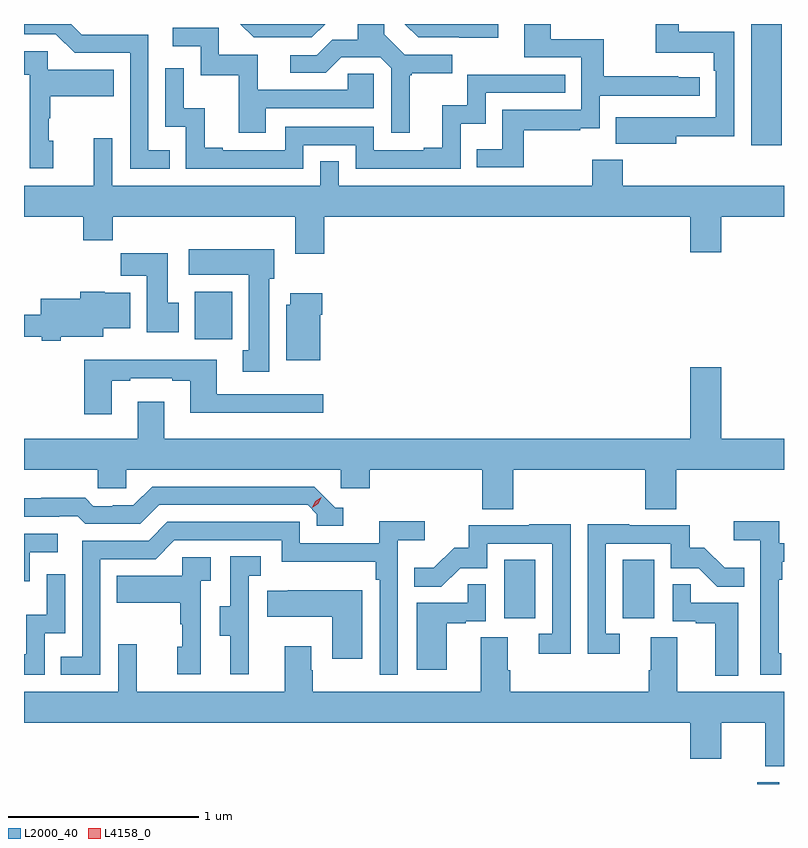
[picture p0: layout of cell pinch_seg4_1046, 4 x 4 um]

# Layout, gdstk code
import gdstk
lib = gdstk.Library(unit=1e-6, precision=1e-09)
def R(c, l, rs):  # rectangles x0, y0, x1, y1
    for r in rs: c.add(gdstk.rectangle(r[:2], r[2:], *l))
def P(c, l, *ps):  # polygons
    for p in ps: c.add(gdstk.Polygon(p, *l))
L2000_40 = (2000, 40)
L4158_0 = (4158, 0)

pinch_seg4_1046 = lib.new_cell('pinch_seg4_1046')
R(pinch_seg4_1046, L2000_40, [(836.688,763.198,836.806,763.207), (835.358,764.07,835.522,764.377), (835.982,764.07,836.146,764.377), (833.729,765.54,833.925,765.79), (836.657,766.56,836.818,767.198)])
P(pinch_seg4_1046, L2000_40, [(836.263,766.606),(836.568,766.606),(836.568,767.158),(836.275,767.158),(836.275,767.198),(836.154,767.198),(836.154,767.048),(836.459,767.048),(836.459,766.952),(836.472,766.952),(836.472,766.707),(836.159,766.707),(836.159,766.708),(835.945,766.708),(835.945,766.568),(836.263,766.568)],
  [(835.327,767.198),(834.835,767.198),(834.906,767.127),(835.122,767.127),(835.122,767.126),(835.327,767.126)],
  [(834.416,767.198),(833.968,767.198),(834.039,767.127),(834.345,767.127)],
  [(833.597,766.533),(833.484,766.533),(833.484,767.142),(833.134,767.142),(833.078,767.198),(832.83,767.198),(832.83,767.145),(832.998,767.145),(833.097,767.046),(833.388,767.046),(833.388,766.437),(833.597,766.437)],
  [(834.859,766.929),(834.871,766.929),(834.871,766.94),(835.084,766.94),(835.084,767.037),(834.834,767.037),(834.727,767.144),(834.727,767.198),(834.587,767.198),(834.587,767.114),(834.452,767.114),(834.372,767.034),(834.231,767.034),(834.231,766.941),(834.418,766.941),(834.499,767.022),(834.705,767.022),(834.762,766.965),(834.762,766.626),(834.859,766.626)],
  [(835.459,766.638),(835.757,766.638),(835.757,766.649),(835.86,766.649),(835.86,766.821),(836.386,766.821),(836.386,766.917),(836.273,766.917),(836.273,766.922),(835.88,766.922),(835.88,767.118),(835.603,767.118),(835.603,767.198),(835.463,767.198),(835.463,767.022),(835.764,767.022),(835.764,766.746),(835.348,766.746),(835.348,766.54),(835.213,766.54),(835.213,766.443),(835.459,766.443)],
  [(834.103,766.755),(834.672,766.755),(834.672,766.935),(834.535,766.935),(834.535,766.851),(834.061,766.851),(834.061,767.037),(833.856,767.037),(833.856,767.178),(833.613,767.178),(833.613,767.082),(833.76,767.082),(833.76,766.929),(833.959,766.929),(833.959,766.626),(834.103,766.626)],
  [(832.984,766.584),(832.959,766.584),(832.959,766.703),(832.969,766.703),(832.969,766.817),(833.303,766.817),(833.303,766.957),(832.956,766.957),(832.956,767.055),(832.83,767.055),(832.83,766.931),(832.86,766.931),(832.86,766.44),(832.984,766.44)],
  [(834.3,766.56),(834.576,766.56),(834.576,766.437),(835.128,766.437),(835.128,766.673),(835.26,766.673),(835.26,766.836),(835.679,766.836),(835.679,766.932),(835.164,766.932),(835.164,766.771),(835.031,766.771),(835.031,766.546),(834.935,766.546),(834.935,766.533),(834.672,766.533),(834.672,766.656),(834.204,766.656),(834.204,766.533),(833.875,766.533),(833.875,766.546),(833.78,766.546),(833.78,766.754),(833.67,766.754),(833.67,766.966),(833.574,766.966),(833.574,766.656),(833.682,766.656),(833.682,766.437),(834.3,766.437)],
  [(834.41,766.184),(836.336,766.184),(836.336,765.996),(836.5,765.996),(836.5,766.184),(836.83,766.184),(836.83,766.348),(835.982,766.348),(835.982,766.483),(835.822,766.483),(835.822,766.348),(834.486,766.348),(834.486,766.475),(834.39,766.475),(834.39,766.348),(833.295,766.348),(833.295,766.597),(833.198,766.597),(833.198,766.348),(832.83,766.348),(832.83,766.184),(833.141,766.184),(833.141,766.06),(833.297,766.06),(833.297,766.184),(834.257,766.184),(834.257,765.99),(834.41,765.99)],
  [(834.121,765.858),(834.148,765.858),(834.148,766.012),(833.697,766.012),(833.697,765.878),(834.014,765.878),(834.014,765.481),(833.981,765.481),(833.981,765.369),(834.121,765.369)],
  [(833.644,765.732),(833.587,765.732),(833.587,765.991),(833.338,765.991),(833.338,765.872),(833.477,765.872),(833.477,765.576),(833.644,765.576)],
  [(833.023,765.551),(833.248,765.551),(833.248,765.596),(833.389,765.596),(833.389,765.784),(833.256,765.784),(833.256,765.79),(833.126,765.79),(833.126,765.751),(832.919,765.751),(832.919,765.668),(832.83,765.668),(832.83,765.552),(832.923,765.552),(832.923,765.532),(833.023,765.532)],
  [(834.388,765.668),(834.401,765.668),(834.401,765.781),(834.23,765.781),(834.23,765.72),(834.209,765.72),(834.209,765.428),(834.388,765.428)],
  [(833.293,765.321),(833.389,765.321),(833.389,765.333),(833.609,765.333),(833.609,765.321),(833.705,765.321),(833.705,765.152),(834.406,765.152),(834.406,765.249),(833.845,765.249),(833.845,765.43),(833.146,765.43),(833.146,765.144),(833.293,765.144)],
  [(833.569,765.211),(833.429,765.211),(833.429,765.016),(832.83,765.016),(832.83,764.852),(833.217,764.852),(833.217,764.754),(833.367,764.754),(833.367,764.852),(834.498,764.852),(834.498,764.754),(834.65,764.754),(834.65,764.852),(835.241,764.852),(835.241,764.644),(835.406,764.644),(835.406,764.852),(836.099,764.852),(836.099,764.644),(836.264,764.644),(836.264,764.852),(836.83,764.852),(836.83,765.016),(836.5,765.016),(836.5,765.391),(836.336,765.391),(836.336,765.016),(833.569,765.016)],
  [(834.511,764.652),(834.468,764.652),(834.357,764.763),(833.504,764.763),(833.405,764.664),(833.298,764.664),(833.298,764.661),(833.195,764.661),(833.153,764.704),(832.92,764.704),(832.92,764.701),(832.83,764.701),(832.83,764.604),(833.015,764.604),(833.015,764.607),(833.114,764.607),(833.153,764.568),(833.442,764.568),(833.541,764.667),(834.324,764.667),(834.372,764.619),(834.372,764.556),(834.511,764.556)],
  [(833.232,764.382),(833.523,764.382),(833.622,764.481),(834.186,764.481),(834.186,764.369),(834.682,764.369),(834.682,764.273),(834.702,764.273),(834.702,763.773),(834.798,763.773),(834.798,764.48),(834.94,764.48),(834.94,764.582),(834.701,764.582),(834.701,764.466),(834.282,764.466),(834.282,764.577),(833.585,764.577),(833.486,764.478),(833.136,764.478),(833.136,763.869),(833.023,763.869),(833.023,763.773),(833.232,763.773)],
  [(836.815,763.885),(836.802,763.885),(836.802,764.273),(836.822,764.273),(836.822,764.369),(836.83,764.369),(836.83,764.466),(836.804,764.466),(836.804,764.582),(836.565,764.582),(836.565,764.48),(836.706,764.48),(836.706,763.773),(836.815,763.773)],
  [(835.966,763.989),(835.893,763.989),(835.893,764.463),(836.235,764.463),(836.235,764.334),(836.38,764.334),(836.478,764.236),(836.621,764.236),(836.621,764.335),(836.517,764.335),(836.41,764.442),(836.334,764.442),(836.334,764.559),(836.015,764.559),(836.015,764.564),(835.797,764.564),(835.797,763.884),(835.966,763.884)],
  [(835.707,764.564),(835.489,764.564),(835.489,764.559),(835.171,764.559),(835.171,764.442),(835.094,764.442),(834.987,764.335),(834.883,764.335),(834.883,764.236),(835.027,764.236),(835.125,764.334),(835.269,764.334),(835.269,764.463),(835.611,764.463),(835.611,763.989),(835.539,763.989),(835.539,763.884),(835.707,763.884)],
  [(832.86,764.418),(833.008,764.418),(833.008,764.514),(832.83,764.514),(832.83,764.265),(832.86,764.265)],
  [(834.014,763.989),(834.012,763.989),(834.012,764.293),(834.076,764.293),(834.076,764.396),(833.916,764.396),(833.916,764.133),(833.861,764.133),(833.861,763.978),(833.915,763.978),(833.915,763.776),(834.014,763.776)],
  [(833.76,764.267),(833.812,764.267),(833.812,764.391),(833.664,764.391),(833.664,764.293),(833.317,764.293),(833.317,764.153),(833.652,764.153),(833.652,764.039),(833.662,764.039),(833.662,763.92),(833.636,763.92),(833.636,763.776),(833.76,763.776)],
  [(832.938,763.992),(833.046,763.992),(833.046,764.302),(832.95,764.302),(832.95,764.09),(832.841,764.09),(832.841,763.882),(832.83,763.882),(832.83,763.773),(832.938,763.773)],
  [(835.054,764.043),(835.154,764.043),(835.154,764.055),(835.26,764.055),(835.26,764.249),(835.165,764.249),(835.165,764.151),(834.896,764.151),(834.896,763.8),(835.054,763.8)],
  [(836.59,764.151),(836.339,764.151),(836.339,764.249),(836.244,764.249),(836.244,764.055),(836.365,764.055),(836.365,764.043),(836.468,764.043),(836.468,763.769),(836.59,763.769)],
  [(834.61,764.218),(834.217,764.218),(834.217,764.215),(834.109,764.215),(834.109,764.078),(834.452,764.078),(834.452,763.857),(834.61,763.857)],
  [(836.336,763.332),(836.5,763.332),(836.5,763.52),(836.731,763.52),(836.731,763.292),(836.83,763.292),(836.83,763.684),(836.269,763.684),(836.269,763.97),(836.129,763.97),(836.129,763.796),(836.117,763.796),(836.117,763.684),(835.388,763.684),(835.388,763.796),(835.375,763.796),(835.375,763.97),(835.235,763.97),(835.235,763.684),(834.351,763.684),(834.351,763.796),(834.343,763.796),(834.343,763.924),(834.203,763.924),(834.203,763.684),(833.423,763.684),(833.423,763.933),(833.325,763.933),(833.325,763.684),(832.83,763.684),(832.83,763.52),(836.336,763.52)])
P(pinch_seg4_1046, L4158_0, [(834.347,764.653),(834.347,764.654),(834.364,764.686),(834.395,764.706),(834.395,764.706),(834.395,764.705),(834.378,764.673),(834.347,764.653)])

lib.write_gds('pinch_seg4_1046.gds')
